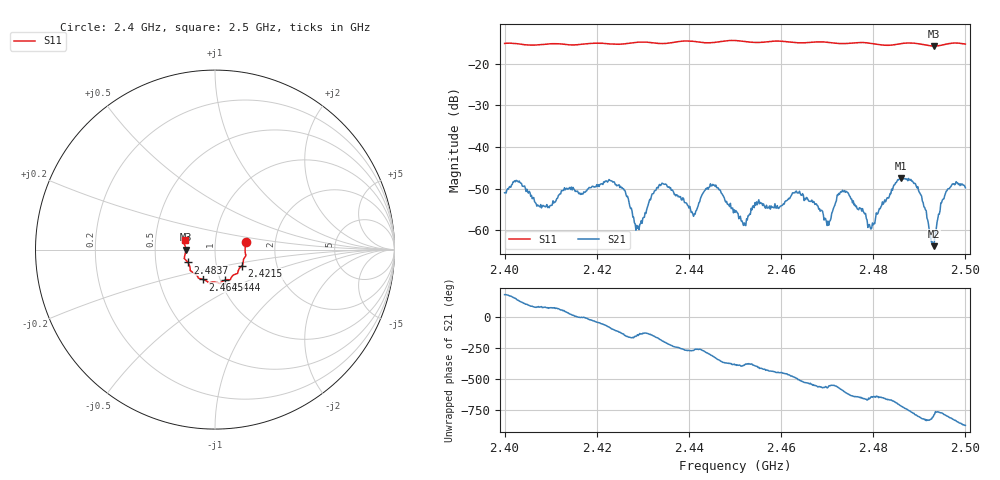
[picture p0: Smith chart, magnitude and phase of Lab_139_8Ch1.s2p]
# Hz S RI R 50
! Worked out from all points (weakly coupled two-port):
!   601 points, 2.4 GHz to 2.5 GHz, reference 50 ohm
!   highest |S21| = -47.56 dB at 2.486 GHz (marker M1); lowest = -63.8 dB at 2.4932 GHz (marker M2)
!   lowest |S11| = -15.7 dB at 2.4932 GHz (marker M3), VSWR 1.39, Z = 35.9 - j0.0582 ohm
!   |S11| at or under -10 dB: start of sweep to end of sweep
!   S12 and S22 are empty: the file has one direction only
!   S11 on the Smith chart (normalised r, x): 2.4 GHz: 1.41, +0.12; 2.4215 GHz: 1.33, -0.25; 2.444 GHz: 1.06, -0.37; 2.4645 GHz: 0.83, -0.29; 2.4837 GHz: 0.73, -0.11; 2.5 GHz: 0.71, +0.07
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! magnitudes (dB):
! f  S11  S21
! 2.4 GHz  -15.1  -51.0
! 2.4167 GHz  -15.3  -51.1
! 2.4215 GHz  -15.1  -48.3
! 2.4257 GHz  -15.2  -50.0
! 2.4288 GHz  -14.8  -59.5
! 2.4333 GHz  -15.1  -49.9
! 2.441 GHz  -14.6  -56.6
! 2.444 GHz  -14.9  -49.7
! 2.45 GHz  -14.4  -55.7
! 2.4518 GHz  -14.6  -58.8
! 2.4645 GHz  -15.0  -51.6
! 2.4667 GHz  -14.8  -52.8
! 2.4703 GHz  -14.9  -58.8
! 2.4738 GHz  -15.1  -50.5
! 2.4793 GHz  -15.1  -59.3
! 2.4833 GHz  -15.6  -52.3
! 2.4837 GHz  -15.5  -51.2
! 2.486 GHz  -15.1  -47.6
! 2.4895 GHz  -15.1  -49.8
! 2.4932 GHz  -15.7  -63.8
! 2.496 GHz  -15.2  -50.5
! 2.5 GHz  -15.3  -49.8
